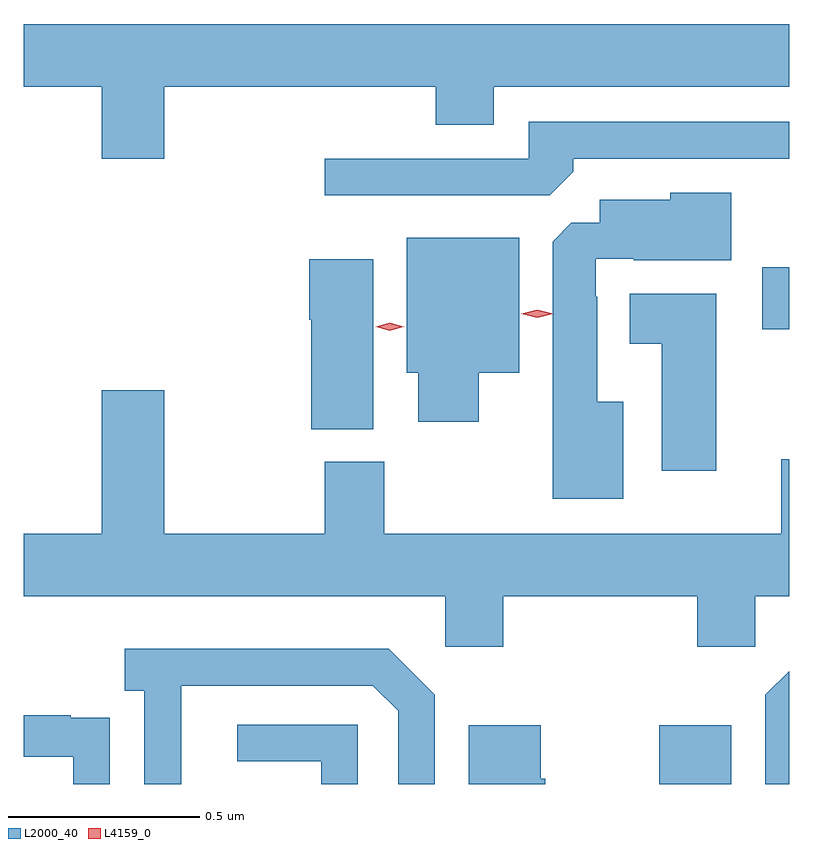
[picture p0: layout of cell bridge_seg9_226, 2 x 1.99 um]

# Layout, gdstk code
import gdstk
lib = gdstk.Library(unit=1e-6, precision=1e-09)
def R(c, l, rs):  # rectangles x0, y0, x1, y1
    for r in rs: c.add(gdstk.rectangle(r[:2], r[2:], *l))
def P(c, l, *ps):  # polygons
    for p in ps: c.add(gdstk.Polygon(p, *l))
L2000_40 = (2000, 40)
L4159_0 = (4159, 0)

bridge_seg9_226 = lib.new_cell('bridge_seg9_226')
R(bridge_seg9_226, L2000_40, [(190.442,1203.922,190.63,1204.075), (190.71,1205.11,190.781,1205.272)])
P(bridge_seg9_226, L2000_40, [(189.148,1205.744),(189.857,1205.744),(189.857,1205.645),(190.009,1205.645),(190.009,1205.744),(190.781,1205.744),(190.781,1205.908),(188.781,1205.908),(188.781,1205.744),(188.984,1205.744),(188.984,1205.556),(189.148,1205.556)],
  [(190.217,1205.522),(190.217,1205.556),(190.781,1205.556),(190.781,1205.652),(190.101,1205.652),(190.101,1205.556),(189.567,1205.556),(189.567,1205.46),(190.155,1205.46)],
  [(190.348,1204.921),(190.279,1204.921),(190.279,1205.195),(190.275,1205.195),(190.275,1205.295),(190.375,1205.295),(190.375,1205.291),(190.63,1205.291),(190.63,1205.467),(190.47,1205.467),(190.47,1205.449),(190.286,1205.449),(190.286,1205.388),(190.212,1205.388),(190.163,1205.339),(190.163,1204.667),(190.348,1204.667)],
  [(189.97,1204.997),(190.075,1204.997),(190.075,1205.35),(189.782,1205.35),(189.782,1204.997),(189.812,1204.997),(189.812,1204.869),(189.97,1204.869)],
  [(189.694,1205.293),(189.527,1205.293),(189.527,1205.135),(189.532,1205.135),(189.532,1204.849),(189.694,1204.849)],
  [(190.591,1205.203),(190.364,1205.203),(190.364,1205.072),(190.448,1205.072),(190.448,1204.74),(190.591,1204.74)],
  [(190.034,1204.412),(190.541,1204.412),(190.541,1204.281),(190.692,1204.281),(190.692,1204.412),(190.781,1204.412),(190.781,1204.771),(190.76,1204.771),(190.76,1204.576),(189.723,1204.576),(189.723,1204.764),(189.568,1204.764),(189.568,1204.576),(189.148,1204.576),(189.148,1204.951),(188.984,1204.951),(188.984,1204.576),(188.781,1204.576),(188.781,1204.412),(189.882,1204.412),(189.882,1204.281),(190.034,1204.281)],
  [(189.192,1203.979),(189.193,1203.979),(189.193,1204.179),(189.693,1204.179),(189.759,1204.113),(189.759,1203.922),(189.855,1203.922),(189.855,1204.155),(189.734,1204.276),(189.045,1204.276),(189.045,1204.166),(189.096,1204.166),(189.096,1203.922),(189.192,1203.922)],
  [(190.781,1204.217),(190.719,1204.155),(190.719,1203.922),(190.781,1203.922)],
  [(189.006,1203.986),(189.005,1203.986),(189.005,1204.095),(188.903,1204.095),(188.903,1204.102),(188.781,1204.102),(188.781,1203.993),(188.91,1203.993),(188.91,1203.922),(189.006,1203.922)],
  [(189.654,1204.077),(189.339,1204.077),(189.339,1203.981),(189.558,1203.981),(189.558,1203.922),(189.654,1203.922)],
  [(190.144,1203.936),(190.132,1203.936),(190.132,1204.075),(189.944,1204.075),(189.944,1203.922),(190.144,1203.922)])
P(bridge_seg9_226, L4159_0, [(190.123,1205.141),(190.081,1205.151),(190.081,1205.151),(190.081,1205.151),(190.123,1205.161),(190.164,1205.151),(190.164,1205.151),(190.164,1205.151)],
  [(189.737,1205.107),(189.7,1205.117),(189.699,1205.117),(189.7,1205.117),(189.737,1205.127),(189.774,1205.117),(189.775,1205.117),(189.774,1205.117)])

lib.write_gds('bridge_seg9_226.gds')
